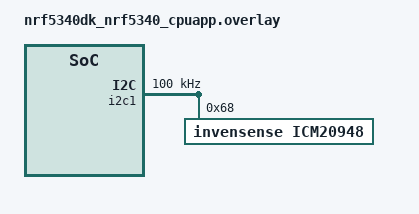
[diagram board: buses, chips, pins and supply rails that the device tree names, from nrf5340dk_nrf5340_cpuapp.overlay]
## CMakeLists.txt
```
# SPDX-License-Identifier: Apache-2.0

cmake_minimum_required(VERSION 3.20.0)

find_package(Zephyr REQUIRED HINTS $ENV{ZEPHYR_BASE})
project(mysensor_icm20948)

# 添加源文件
target_sources(app PRIVATE 
    src/main.c
    src/imu.c
    src/hal.c
)

# 添加头文件路径
# target_include_directories(app PRIVATE
#     src
#     ${ZEPHYR_BASE}/include
# )


# 添加包含目录
target_include_directories(app PRIVATE
    src
    ${ZEPHYR_BASE}/include
    ${ZEPHYR_BASE}/drivers
)

zephyr_library_include_directories(${ZEPHYR_BASE}/include)
```

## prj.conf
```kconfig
CONFIG_I2C=y
CONFIG_PRINTK=y
CONFIG_LOG=y
CONFIG_LOG_DEFAULT_LEVEL=3
CONFIG_SERIAL=y
CONFIG_UART_CONSOLE=y
CONFIG_I2C_NRFX=y
CONFIG_NRFX_TIMER1=y
```

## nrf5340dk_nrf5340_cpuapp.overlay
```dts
// To get started, press Ctrl+Space to bring up the completion menu and view the available nodes.

// You can also use the buttons in the sidebar to perform actions on nodes.
// Actions currently available include:

// * Enabling / disabling the node
// * Adding the bus to a bus
// * Removing the node
// * Connecting ADC channels

// For more help, browse the DeviceTree documentation at https://docs.zephyrproject.org/latest/guides/dts/index.html
// You can also visit the nRF DeviceTree extension documentation at https://docs.nordicsemi.com/bundle/nrf-connect-vscode/page/guides/ncs_configure_app.html#devicetree-support-in-the-extension
&i2c1 {
	status = "okay";
	// compatible = "st,stm32-i2c-v1";
	compatible = "nordic,nrf-twim";
	clock-frequency = <I2C_BITRATE_STANDARD>;
	// clock-frequency = <100000>;
	pinctrl-0 = <&i2c1_default>;
    pinctrl-1 = <&i2c1_sleep>;
    pinctrl-names = "default", "sleep";

    icm20948: icm20948@68{
        compatible = "invensense,icm20948";
        reg = <0x68>;
        // label = "mysensor_icm20948";
		status = "okay";

    };
};
// &arduino_i2c {
//     status = "okay";
//     clock-frequency = <100000>;  // 设置 I2C 频率为 400kHz

//     icm20948: icm20948@68 {
//         // compatible = "invensense,icm20948";
// 		compatible = "i2c-device";
//         reg = <0x68>;           // ICM20948 的 I2C 地址
//         status = "okay";
//     };
// };
```

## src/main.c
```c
// // /*
// //  * Copyright (c) 2012-2014 Wind River Systems, Inc.
// //  *
// //  * SPDX-License-Identifier: Apache-2.0
// //  */

// #include <zephyr/drivers/i2c.h>
// #include <zephyr/sys/printk.h>
// #include <zephyr/kernel.h>
// #include "imu.h"
// #include "hal.h"

// // 定义 I2C 节点和设备
// // #define I2C_NODE DT_NODELABEL(mysensor)
// #define I2C_NODE DT_NODELABEL(icm20948)
// static const struct i2c_dt_spec dev_icm20948 = I2C_DT_SPEC_GET(I2C_NODE);

// // 定义 ICM20948 和 AK09916 的寄存器地址和配置值
// #define IMU_REG_BANK_SEL       0x7F
// #define AK09916_I2C_ADDR       0x0C
// #define AK09916_HXL            0x11
// #define AK09916_CNTL2          0x31
// #define AK09916_CNTL3          0x32
// #define AK09916_CONT_MODE_100HZ 0x08
// #define AK09916_ST1            0x10

// // 向 ICM20948 的寄存器写入数据的函数
// static int icm20948_write_register(uint8_t reg, uint8_t value) {
//     uint8_t buffer[2] = { reg, value };
//     return i2c_write_dt(&dev_icm20948, buffer, sizeof(buffer));
// }

// // 从 ICM20948 的寄存器读取数据的函数
// static int icm20948_read_register(uint8_t reg, uint8_t *data, size_t len) {
//     return i2c_write_read_dt(&dev_icm20948, &reg, 1, data, len);
// }

// // 选择 ICM20948 寄存器组的函数
// static int select_register_bank(uint8_t bank) {
//     return icm20948_write_register(IMU_REG_BANK_SEL, bank << 4);
// }
















// // 验证 AK09916 工作模式
// int verify_ak09916_mode(void) {
//     int ret;
//     uint8_t i2c_mst_status;
    
//     // 1. 先对 AK09916 进行软复位
//     ret = select_register_bank(3);
//     if (ret < 0) return ret;
    
//     // 配置写入 CNTL3 寄存器进行复位
//     ret = icm20948_write_register(0x03, AK09916_I2C_ADDR << 1);    // 写模式
//     if (ret < 0) return ret;
    
//     ret = icm20948_write_register(0x04, AK09916_CNTL3);           // CNTL3 寄存器
//     if (ret < 0) return ret;
    
//     ret = icm20948_write_register(0x06, 0x01);                     // 软复位值
//     if (ret < 0) return ret;
    
//     // ret = icm20948_write_register(0x05, 0x81);                     // 启用写入
//     // if (ret < 0) return ret;
    
//     printk("AK09916 soft reset initiated\n");
//     k_sleep(K_MSEC(100));  // 等待复位完成
//     ret = icm20948_write_register(0x03, (AK09916_I2C_ADDR << 1) | 0x80);  // 读模式
//     if (ret < 0) return ret;

//     ret = icm20948_write_register(0x04, AK09916_CNTL3);           // CNTL3 寄存器
//     if (ret < 0) return ret;

//     ret = icm20948_write_register(0x05, 0x81);                            // 启用读取
//     if (ret < 0) return ret;
    
//     ret = select_register_bank(0);
//     uint8_t cntl3;
//     ret = icm20948_read_register(0x3B, &cntl3, 1);
//     printk("After soft reset - cntl3: 0x%02X\n", cntl3);

//     // 检查传输状态
//     ret = select_register_bank(0);
//     ret = icm20948_read_register(0x17, &i2c_mst_status, 1);
//     printk("Soft reset - I2C_MST_STATUS: 0x%02X\n", i2c_mst_status);
    
//     // 2. 设置连续模式
//     ret = select_register_bank(3);
//     if (ret < 0) return ret;
    
//     ret = icm20948_write_register(0x03, AK09916_I2C_ADDR << 1);    // 写模式
//     if (ret < 0) return ret;
    
//     ret = icm20948_write_register(0x04, AK09916_CNTL2);           // CNTL2 寄存器
//     if (ret < 0) return ret;
    
//     ret = icm20948_write_register(0x06, AK09916_CONT_MODE_100HZ); // 连续模式
//     if (ret < 0) return ret;
    
//     ret = icm20948_write_register(0x05, 0x81);                     // 启用写入
//     if (ret < 0) return ret;
    
//     printk("Set continuous mode completed\n");
//     k_sleep(K_MSEC(100));  // 等待模式切换完成
    
//     // 3. 验证模式设置
//     ret = icm20948_write_register(0x03, (AK09916_I2C_ADDR << 1) | 0x80);  // 读模式
//     if (ret < 0) return ret;
    
//     ret = icm20948_write_register(0x04, AK09916_CNTL2);                   // CNTL2 寄存器
//     if (ret < 0) return ret;
    
//     ret = icm20948_write_register(0x05, 0x81);                            // 启用读取
//     if (ret < 0) return ret;

//     ret = select_register_bank(0);

    
//     k_sleep(K_MSEC(10));
    
//     // 检查传输状态
//     ret = select_register_bank(0);
//     if (ret < 0) return ret;
    
//     ret = icm20948_read_register(0x17, &i2c_mst_status, 1);
//     printk("Mode verify - I2C_MST_STATUS: 0x%02X\n", i2c_mst_status);
    
//     uint8_t mode;
//     ret = icm20948_read_register(0x3B, &mode, 1);
//     if (ret < 0) return ret;
    
//     printk("AK09916 mode after setup: 0x%02X\n", mode);
    
//     if (mode != AK09916_CONT_MODE_100HZ) {
//         printk("Failed to set AK09916 mode\n");
//         return -EIO;
//     }
    
//     printk("AK09916 mode setup successful\n");

//     //确认data是否都已更新且准备好
//     uint8_t int_status_1;
//     ret = icm20948_read_register(0x3B, &int_status_1, 1);
//     printk("Data verify - INT_STATUS_1: 0x%02X\n", int_status_1);

//     return 0;
// }

// int init_ak09916(void) {
//     int ret;
    
//     // 1. 复位 ICM20948
//     ret = select_register_bank(0);
//     if (ret < 0) return ret;

//     ret = icm20948_write_register(0x03, 0x00);//先禁用i2c master
//     if (ret < 0) return ret;
//     k_sleep(K_MSEC(100));
    
//     ret = icm20948_write_register(0x06, 0x80);  // PWR_MGMT_1 复位
//     if (ret < 0) return ret;
//     k_sleep(K_MSEC(100));
    
//     // 清除睡眠模式
//     ret = icm20948_write_register(0x06, 0x01);
//     if (ret < 0) return ret;
//     k_sleep(K_MSEC(100));
    
//     // 2. 禁用 bypass
//     ret = icm20948_write_register(0x0F, 0x00);
//     if (ret < 0) return ret;
//     k_sleep(K_MSEC(10));

//     //为了避免当接收到nack时直接中断
//     ret = icm20948_write_register(0x10, 0x00);  //禁用INT_ENABLE
    
//     // 3. 配置并启用 I2C 主机
//     ret = select_register_bank(3);
//     if (ret < 0) return ret;
    
//     // 配置 I2C 主机时钟为 100kHz
//     ret = icm20948_write_register(0x01, 0x08);
//     if (ret < 0) return ret;
    
//     ret = select_register_bank(0);
//     if (ret < 0) return ret;
    
//     // 启用 I2C 主机
//     ret = icm20948_write_register(0x03, 0x20);
//     if (ret < 0) return ret;
//     k_sleep(K_MSEC(100));
    
//     // 4. 验证 AK09916 模式
//     ret = verify_ak09916_mode();
//     if (ret < 0) {
//         printk("Failed to verify AK09916 mode\n");
//         return ret;
//     }
    
//     return 0;
// }









// // 读取 ST1 寄存器的数据函数
// int read_ak09916_st1(uint8_t *st1_val) {
//     int ret;
    
//     // 先验证工作模式
//     ret = verify_ak09916_mode();
//     if (ret < 0) {
//         return ret;
//     }

//     // 读取前的状态
//     ret = select_register_bank(0);
//     uint8_t status_check;
//     ret = icm20948_read_register(0x3B, &status_check, 1);
//     printk("Before ST1 read - EXT_SENS_DATA_00: 0x%02X\n", status_check);
    
//     ret = select_register_bank(3);
//     // 检查当前 SLV0 配置
//     uint8_t slv0_addr, slv0_reg, slv0_ctrl;
//     ret = icm20948_read_register(0x03, &slv0_addr, 1);
//     ret = icm20948_read_register(0x04, &slv0_reg, 1);
//     ret = icm20948_read_register(0x05, &slv0_ctrl, 1);
//     printk("ST1 read config - ADDR: 0x%02X, REG: 0x%02X, CTRL: 0x%02X\n", 
//            slv0_addr, slv0_reg, slv0_ctrl);
    
//     // 配置读取 ST1
//     ret = icm20948_write_register(0x03, (AK09916_I2C_ADDR << 1) | 0x80); // 读操作
//     ret = icm20948_write_register(0x04, AK09916_ST1);                     // ST1 寄存器
//     ret = icm20948_write_register(0x05, 0x81);                            // 启用读取 1 字节
    
//     // 检查传输状态
//     ret = select_register_bank(0);
//     uint8_t i2c_mst_status;
//     ret = icm20948_read_register(0x17, &i2c_mst_status, 1);
//     printk("I2C_MST_STATUS during ST1 read: 0x%02X\n", i2c_mst_status);
    
//     // 读取 ST1 值
//     ret = icm20948_read_register(0x3B, st1_val, 1);
//     printk("ST1 raw value: 0x%02X, DRDY bit: %d\n", *st1_val, (*st1_val & 0x01));
    
//     return 0;
// }

// int read_ak09916_xyz(int16_t *x, int16_t *y, int16_t *z) {
//     // uint8_t st1_val;
//     uint8_t buffer[6];
//     int ret;
//     uint8_t st1_val;

//      // 读取 ST1 寄存器以检查数据是否准备好
//     ret = read_ak09916_st1(&st1_val);
//     if (ret < 0 || !(st1_val & 0x01)) { // DRDY 位为 1 表示数据准备好
//         // printk("ST1 data not ready or read failure, error: %d, ST1: 0x%02X\n", ret, st1_val);
//         return -EAGAIN; // 返回 EAGAIN 表示数据尚未准备好
//     }


//     // 1. 切换到 Bank 3，配置 I2C 主机
//     ret = select_register_bank(3);
//     if (ret < 0) {
//         printf("switch to bank3 failure\n");
//         return ret;
//     }
//     // 配置 I2C_SLV0_ADDR (AK09916 地址，读操作)
//     ret = icm20948_write_register(0x03, (AK09916_I2C_ADDR << 1) | 0x80); // 0x80 表示读
//     if (ret < 0) {
//         printf("configure I2C_SLV0_ADDR failure\n");
//         return ret;
//     }
//     // 配置 I2C_SLV0_REG (目标寄存器 HXL 地址)
//     ret = icm20948_write_register(0x04, AK09916_HXL);
//     if (ret < 0) {
//         printf("configure I2C_SLV0_REG failure\n");
//         return ret;
//     }
//     // 配置 I2C_SLV0_CTRL (启用读取并设置读取 6 字节)
//     ret = icm20948_write_register(0x05, 0x86); // 0x86 = 0x10000110，启用读取，长度 6 字节
//     if (ret < 0) {
//         printf("configure I2C_SLV0_CTRL failure\n");
//         return ret;
//     }
//     ret = select_register_bank(0);
//     if (ret < 0) {
//         printf("switch to bank0 failure\n");
//         return ret;
//     }
//     // 读取扩展传感器数据寄存器 (EXT_SLV_SENS_DATA_00 - 05)
//     ret = icm20948_read_register(0x3B, buffer, 6); // 0x3B 是 EXT_SLV_SENS_DATA_00 的地址，读取HXL-HZH的数据

//     // 3. 合并高低字节数据
//     *x = (buffer[1] << 8) | buffer[0];
//     *y = (buffer[3] << 8) | buffer[2];
//     *z = (buffer[5] << 8) | buffer[4];

//     return 0;
// }

// int main(void) {
//     int ret;
//     int16_t x, y, z;

//     // 检查 I2C 设备是否准备就绪
//     if (!device_is_ready(dev_icm20948.bus)) {
//         printk("I2C bus %s was not ready!\n", dev_icm20948.bus->name);
//         return -1;
//         k_sleep(K_MSEC(100)); 
//     }
//     printk("initialize AK09916 mag...\n");
//     // 配置 AK09916 为连续模式
//     ret = init_ak09916();
//     while (ret != 0) {
//         printk("init AK09916 failure\n");
//         ret = init_ak09916();
//         k_sleep(K_MSEC(100)); 
//     }

//     printk("start reading AK09916 mag data...\n");

//     // 主循环，持续读取数据
//     while (1) {
//         ret = read_ak09916_xyz(&x, &y, &z);
//         if (ret == -EAGAIN) {
//             // 等待一段时间后再试
//             k_sleep(K_MSEC(10));
//             continue;
//         } 
//         else if (ret < 0) {
//             printk("Error reading data: %d\n", ret);
//         } 
//         else {
//             printk("mag data - X: %d, Y: %d, Z: %d\n", x, y, z);
//         }
//         k_sleep(K_MSEC(100));  // 控制读取频率
//     }
// }
/* main.c - ICM20948 demo application for nRF5340 */

/* main.c - ICM20948 demo application for nRF5340 using provided drivers */

/* main.c - ICM20948 demo application for nRF5340 */

#include <zephyr/kernel.h>
#include <zephyr/drivers/i2c.h>
#include <zephyr/sys/printk.h>
#include "imu.h"
#include "hal.h"

/* I2C 设备定义 */
#define I2C_NODE DT_NODELABEL(icm20948)
static const struct i2c_dt_spec dev_icm20948 = I2C_DT_SPEC_GET(I2C_NODE);

/* 传感器数据刷新时间 */
#define SENSOR_SAMPLE_INTERVAL K_MSEC(10)

/* 全局变量 */
static IMU_DATA imu_data;
extern inv_icm20948_state st;

int main(void)
{
    int ret;
    int16_t mx, my, mz;
    
    printk("Starting ICM20948 application\n");

    /* 检查 I2C 设备是否就绪 */
    if (!i2c_is_ready_dt(&dev_icm20948)) {
        printk("I2C bus %s is not ready!\n", dev_icm20948.bus->name);
        return -1;
    }

    /* 初始化 ICM20948 */
    ret = inv_check_and_setup_chip(&st);
    if (ret != 0) {
        printk("Failed to initialize ICM20948: %d\n", ret);
        return ret;
    }

    /* 初始化磁力计 */
    inv_icm20948_init_magnetometer();
    printk("ICM20948 initialized successfully\n");

    /* 设置传感器工作模式 */
    inv_icm20948_set_sample_frequency(100); // 100Hz
    inv_icm20948_set_gyro_dlpf(INV_ICM20948_GYRO_FILTER_197HZ);
    inv_icm20948_set_accel_dlpf(INV_ICM20948_ACCEL_FILTER_246HZ);

    /* 主循环 */
    while (1) {
        /* 读取传感器数据 */
        inv_icm20948_read_imu(&imu_data);
        
        /* 单独读取磁力计数据 */
        inv_icm20948_read_magn_xyz(&mx, &my, &mz);

        /* 打印传感器数据 */
        // printk("\n=== Sensor Data ===\n");
        // printk("Accel:  X: %6d Y: %6d Z: %6d\n", 
        //        imu_data.ax, imu_data.ay, imu_data.az);
        // printk("Gyro:   X: %6d Y: %6d Z: %6d\n", 
        //        imu_data.gx, imu_data.gy, imu_data.gz);
        // printk("Mag:    X: %6d Y: %6d Z: %6d\n", 
        //        mx, my, mz);
        printk("%6d\n", mz);
        // printk("Temp:   %d\n", imu_data.temperature);

        /* 等待下一次采样 */
        k_sleep(SENSOR_SAMPLE_INTERVAL);
    }



    return 0;
}
```

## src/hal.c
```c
/*
 * Copyright(c) 2021 - Jim Newman
 *
 * Permission is hereby granted, free of charge, to any person obtaining a copy of this
 * software and associated documentation files (the "Software"), to deal in the Software
 * without restriction, including without limitation the rights to use, copy, modify,
 * merge, publish, distribute, sublicense, and/or sell copies of the Software, and to
 * permit persons to whom the Software is furnished to do so, subject to the following
 * conditions:
 *
 * The above copyright notice and this permission notice shall be included in all copies
 * or substantial portions of the Software.
 *
 * THE SOFTWARE IS PROVIDED "AS IS", WITHOUT WARRANTY OF ANY KIND, EXPRESS OR IMPLIED,
 * PARTICULAR PURPOSE AND NONINFRINGEMENT. IN NO EVENT SHALL THE AUTHORS OR COPYRIGHT
 * HOLDERS BE LIABLE FOR ANY CLAIM, DAMAGES OR OTHER LIABILITY, WHETHER IN AN ACTION OF
 * CONTRACT, TORT OR OTHERWISE, ARISING FROM, OUT OF OR IN CONNECTION WITH THE SOFTWARE
 * OR THE USE OR OTHER DEALINGS IN THE SOFTWARE.
 */

/***********************************************************************/
/*                                                                     */
/* HAL -- These are the callback functions required by the InvenSense  */
/*        IMC-20948 driver.                                            */
/*                                                                     */
/***********************************************************************/

// #include "nrf_delay.h"
// #include "nrf_drv_rtc.h"
#include <zephyr/kernel.h>
#include "imu.h"
// #include "ens210.h"
#include "hal.h"
// #include "i2c.h"
#include <zephyr/drivers/i2c.h>
#include <nrfx.h>
#include <time.h>


//static bool verbose = false;	// For debugging I2C issues.

//const nrf_drv_rtc_t rtc = NRF_DRV_RTC_INSTANCE(0); /**< Declaring an instance of nrf_drv_rtc for RTC0. */

//uint32_t inv_icm20948_get_time_us(void)
//{
//    return nrf_drv_rtc_counter_get(&rtc);
//}



/*int inv_icm20948_i2c_read_reg(uint8_t reg, uint8_t *value)
{
    if (verbose)
        printf("Executing %s(0x%02x)\r\n", __func__, reg);

    *value = twi_read_register(IMU_ADDR, reg);

    if (verbose)
    {
        printf("0x%02x\r\n", *value);
    }

    return 0;
}

int inv_icm20948_i2c_read_reg_block(uint8_t reg, uint8_t * rbuffer, uint32_t rlen)
{
    int i;

    if (verbose)
        printf("Executing %s(0x%02x, %ld)\r\n", __func__, reg, rlen);

    twi_read_register_block(IMU_ADDR, reg, rbuffer, rlen);

    if (verbose)
    {
        for (i = 0; i < rlen; i++)
            printf(" val[%d]:0x%02x%s", i, rbuffer[i], (i%4==3?"\r\n":", "));
        printf("\r\n");
    }

    return 0;
}

int inv_icm20948_i2c_write_reg(uint8_t reg, uint8_t value)
{
    if (verbose)
    {
        printf("Executing %s(0x%02x, 0x%02x)\r\n", __func__, reg, value);
    }

    twi_write_register(IMU_ADDR, reg, value);

    return 0;
}

int inv_icm20948_i2c_write_reg_block(uint8_t reg, uint8_t *wbuffer, uint32_t wlen)
{
    int i;

    if (verbose)
    {
        printf("Executing %s(0x%02x, 0x%02x, %ld)", __func__, reg, wbuffer[0], wlen);
        if (wlen > 1)
        {
            printf("\r\n");
            for (i = 0; i < wlen; i++)
                printf(" val[%d]:0x%02x%s", i, wbuffer[i], (i%4==3?"\r\n":((i==(wlen-1)?"\r\n":","))));
        }
    }

    twi_write_register_block(IMU_ADDR, reg, wbuffer, wlen);

    return 0;
}*/




/* I2C 设备定义 */
#define I2C_NODE DT_NODELABEL(icm20948)
static const struct i2c_dt_spec dev_icm20948 = I2C_DT_SPEC_GET(I2C_NODE);

/* 获取系统时间（微秒） */
uint32_t inv_icm20948_get_time_us(void)
{
    return k_uptime_get() * 1000;  // 转换毫秒到微秒
}

/* 微秒延时 */
void inv_icm20948_sleep_us(uint32_t us)
{
    k_usleep(us);
}

/* I2C 初始化 */
int inv_icm20948_i2c_init(void)
{
    /* 检查 I2C 设备是否就绪 */
    if (!i2c_is_ready_dt(&dev_icm20948)) {
        return -ENODEV;
    }

    /* 配置 I2C 为快速模式（400kHz） */
    int ret = i2c_configure(dev_icm20948.bus, I2C_SPEED_SET(I2C_SPEED_FAST) | I2C_MODE_CONTROLLER);
    if (ret != 0) {
        return ret;
    }

    return 0;
}

/* 读取单个寄存器 */
int inv_icm20948_i2c_read_reg(uint8_t reg, uint8_t *value)
{
    return i2c_reg_read_byte_dt(&dev_icm20948, reg, value);
}

/* 读取多个寄存器 */
int inv_icm20948_i2c_read_reg_block(uint8_t reg, uint8_t *buffer, uint32_t len)
{
    struct i2c_msg msgs[2];

    /* 设置寄存器地址 */
    msgs[0].buf = &reg;
    msgs[0].len = 1;
    msgs[0].flags = I2C_MSG_WRITE;

    /* 读取数据 */
    msgs[1].buf = buffer;
    msgs[1].len = len;
    msgs[1].flags = I2C_MSG_READ | I2C_MSG_RESTART;

    return i2c_transfer_dt(&dev_icm20948, msgs, 2);
}

/* 写入单个寄存器 */
int inv_icm20948_i2c_write_reg(uint8_t reg, uint8_t value)
{
    return i2c_reg_write_byte_dt(&dev_icm20948, reg, value);
}

/* 写入多个寄存器 */
int inv_icm20948_i2c_write_reg_block(uint8_t reg, uint8_t *buffer, uint32_t len)
{
    uint8_t tmp_buffer[len + 1];
    struct i2c_msg msg;

    /* 组合寄存器地址和数据 */
    tmp_buffer[0] = reg;
    memcpy(&tmp_buffer[1], buffer, len);

    msg.buf = tmp_buffer;
    msg.len = len + 1;
    msg.flags = I2C_MSG_WRITE | I2C_MSG_STOP;

    return i2c_transfer_dt(&dev_icm20948, &msg, 1);
}
```
